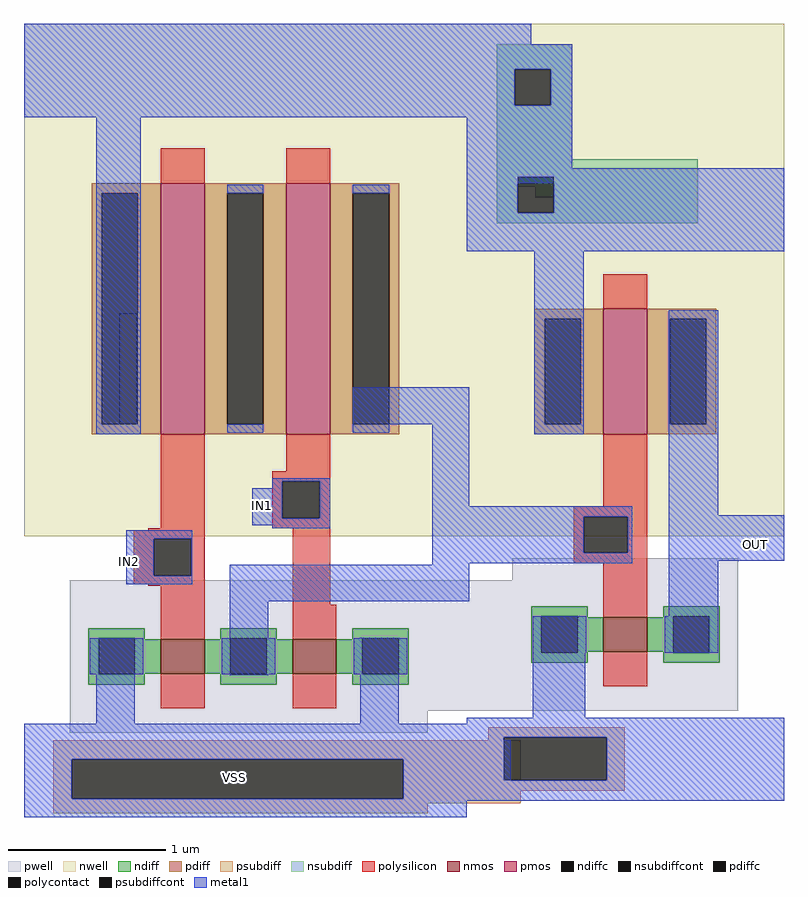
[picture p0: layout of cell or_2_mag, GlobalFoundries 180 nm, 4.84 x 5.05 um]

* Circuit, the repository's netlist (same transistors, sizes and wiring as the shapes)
* NGSPICE file created from or_2_mag.ext - technology: gf180mcuC

.subckt pmos_3p3_M8QNDR w_n202_n290# a_28_n160# a_n116_n160# a_n28_n204#
X0 a_28_n160# a_n28_n204# a_n116_n160# w_n202_n290# pfet_03v3 ad=0.704p pd=4.08u as=0.704p ps=4.08u w=1.6u l=0.28u
.ends

.subckt pmos_3p3_MQGBLR a_n28_n124# a_n116_n80# a_28_n80# w_n202_n210#
X0 a_28_n80# a_n28_n124# a_n116_n80# w_n202_n210# pfet_03v3 ad=0.352p pd=2.48u as=0.352p ps=2.48u w=0.8u l=0.28u
.ends

.subckt nmos_3p3_DDNVWA a_n120_n36# a_28_n22# a_n28_n66# VSUBS
X0 a_28_n22# a_n28_n66# a_n120_n36# VSUBS nfet_03v3 ad=0.152p pd=1.64u as=0.152p ps=1.64u w=0.22u l=0.28u
.ends

.subckt GF_INV_MAG VDD VSS IN OUT
Xpmos_3p3_MQGBLR_0 IN VDD OUT VDD pmos_3p3_MQGBLR
Xnmos_3p3_DDNVWA_0 VSS OUT IN VSS nmos_3p3_DDNVWA
.ends

.subckt pmos_3p3_M4YALR w_n202_n290# a_28_n160# a_n116_n160# a_n28_n204#
X0 a_28_n160# a_n28_n204# a_n116_n160# w_n202_n290# pfet_03v3 ad=0.704p pd=4.08u as=0.704p ps=4.08u w=1.6u l=0.28u
.ends

.subckt or_2_mag VSS VDD IN2 IN1 OUT
Xpmos_3p3_M8QNDR_0 VDD pmos_3p3_M8QNDR_0/a_28_n160# VDD IN2 pmos_3p3_M8QNDR
XGF_INV_MAG_1 VDD VSS GF_INV_MAG_1/IN OUT GF_INV_MAG
Xpmos_3p3_M4YALR_0 VDD GF_INV_MAG_1/IN pmos_3p3_M8QNDR_0/a_28_n160# IN1 pmos_3p3_M4YALR
Xnmos_3p3_DDNVWA_0 GF_INV_MAG_1/IN VSS IN1 VSS nmos_3p3_DDNVWA
Xnmos_3p3_DDNVWA_1 VSS GF_INV_MAG_1/IN IN2 VSS nmos_3p3_DDNVWA
.ends

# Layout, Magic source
magic
tech gf180mcuC
magscale 1 10
<< nwell >>
rect 330 1402 1298 1521
rect 891 1333 1298 1402
rect 932 1313 1028 1333
rect 981 1300 1028 1313
rect 1095 1307 1118 1333
rect 475 998 476 1156
rect 560 953 564 955
rect 529 951 564 953
rect 664 951 686 959
rect 528 940 564 951
rect 529 928 564 940
rect 646 942 686 951
rect 721 942 768 955
rect 646 929 720 942
rect 530 898 564 928
rect 529 894 564 898
rect 530 891 564 894
rect 528 878 564 888
rect 621 882 720 929
rect 646 878 720 882
<< pwell >>
rect 599 785 621 786
rect 832 646 954 812
<< pdiff >>
rect 451 1011 475 1152
rect 451 1000 476 1011
rect 452 998 476 1000
<< psubdiff >>
rect 367 584 963 608
rect 367 534 391 584
rect 813 534 963 584
rect 367 528 963 534
rect 367 515 844 528
<< nsubdiff >>
rect 932 1463 1028 1495
rect 932 1417 955 1463
rect 1001 1417 1028 1463
rect 932 1313 1028 1417
rect 981 1300 1028 1313
rect 1074 1307 1118 1313
rect 1074 1286 1105 1307
<< psubdiffcont >>
rect 391 534 813 584
<< nsubdiffcont >>
rect 955 1417 1001 1463
<< polysilicon >>
rect 504 878 560 954
rect 664 951 720 959
rect 646 938 720 951
rect 646 891 659 938
rect 707 891 720 938
rect 646 878 720 891
rect 488 876 560 878
rect 470 865 560 876
rect 470 818 495 865
rect 543 818 560 865
rect 470 807 560 818
rect 488 805 560 807
rect 504 781 560 805
rect 672 781 720 878
<< polycontact >>
rect 659 891 707 938
rect 495 818 543 865
<< metal1 >>
rect 330 1495 976 1521
rect 330 1463 1028 1495
rect 330 1417 955 1463
rect 1001 1417 1028 1463
rect 330 1402 1028 1417
rect 422 998 479 1402
rect 894 1318 1028 1402
rect 749 1011 897 1058
rect 646 938 720 942
rect 646 929 659 938
rect 621 891 659 929
rect 707 891 720 938
rect 621 882 720 891
rect 646 878 720 882
rect 460 865 544 876
rect 460 818 495 865
rect 543 818 544 865
rect 850 832 897 1011
rect 1214 837 1298 895
rect 460 807 544 818
rect 592 785 897 832
rect 422 629 471 738
rect 592 691 641 785
rect 758 629 807 739
rect 330 608 894 629
rect 330 584 950 608
rect 330 534 391 584
rect 813 544 950 584
rect 813 534 894 544
rect 330 510 894 534
use GF_INV_MAG  GF_INV_MAG_1
transform 1 0 1012 0 1 706
box -118 -175 286 666
use nmos_3p3_DDNVWA  nmos_3p3_DDNVWA_0
transform 1 0 700 0 1 715
box -144 -97 144 97
use nmos_3p3_DDNVWA  nmos_3p3_DDNVWA_1
transform 1 0 532 0 1 715
box -144 -97 144 97
use pmos_3p3_M4YALR  pmos_3p3_M4YALR_0
transform 1 0 692 0 1 1158
box -202 -290 202 290
use pmos_3p3_M8QNDR  pmos_3p3_M8QNDR_0
transform 1 0 532 0 1 1158
box -202 -290 202 290
<< labels >>
flabel psubdiffcont 598 561 598 561 0 FreeSans 320 0 0 0 VSS
port 0 nsew
flabel metal1 464 836 464 836 0 FreeSans 320 0 0 0 IN2
port 2 nsew
flabel metal1 634 907 634 907 0 FreeSans 320 0 0 0 IN1
port 3 nsew
flabel metal1 1262 858 1262 858 0 FreeSans 320 0 0 0 OUT
port 4 nsew
<< end >>

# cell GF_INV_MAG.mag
magic
tech gf180mcuC
magscale 1 10
<< nwell >>
rect -118 526 286 666
rect -84 525 271 526
rect -32 292 31 525
<< psubdiff >>
rect -91 -94 83 -81
rect -91 -149 -71 -94
rect 60 -149 83 -94
rect -91 -162 83 -149
<< nsubdiff >>
rect -80 620 176 642
rect -80 574 -53 620
rect -7 574 176 620
rect -80 561 176 574
<< psubdiffcont >>
rect -71 -149 60 -94
<< nsubdiffcont >>
rect -53 574 -7 620
<< polysilicon >>
rect 56 200 112 248
rect 18 187 112 200
rect 18 141 31 187
rect 87 141 112 187
rect 18 128 112 141
rect 56 103 112 128
<< polycontact >>
rect 31 141 87 187
<< metal1 >>
rect -118 620 286 631
rect -118 574 -53 620
rect -7 574 286 620
rect -118 525 286 574
rect -32 292 31 525
rect -118 187 93 200
rect -118 141 31 187
rect 87 141 93 187
rect -118 128 93 141
rect 139 189 202 450
rect 139 131 286 189
rect -34 -69 33 60
rect 139 14 202 131
rect -118 -94 286 -69
rect -118 -149 -71 -94
rect 60 -149 286 -94
rect -118 -175 286 -149
use nmos_3p3_DDNVWA  nmos_3p3_DDNVWA_0
transform 1 0 84 0 1 37
box -144 -97 144 97
use pmos_3p3_MQGBLR  pmos_3p3_MQGBLR_0
transform 1 0 84 0 1 372
box -202 -210 202 210
<< labels >>
flabel metal1 -106 158 -106 158 0 FreeSans 640 0 0 0 IN
port 2 nsew
flabel metal1 276 159 276 159 0 FreeSans 640 0 0 0 OUT
port 3 nsew
flabel psubdiffcont -11 -123 -11 -123 0 FreeSans 640 0 0 0 VSS
port 4 nsew
<< end >>

# cell nmos_3p3_DDNVWA: kit device nmos_3p3, w 0.220 l 0.280 m 1 nf 1 diffcov 100 polycov 100 guard 0 glc 0 grc 0 gtc 0 gbc 0 tbcov 100 rlcov 100 topc 0 botc 0 poverlap 0 doverlap 1 lmin 0.28 wmin 0.22 full_metal 0 compatible {nmos_3p3 nmos_6p0 nmos_6p0_nat}

# cell pmos_3p3_M4YALR: kit device pmos_3p3, w 1.6 l 0.280 m 1 nf 1 diffcov 100 polycov 100 guard 0 glc 0 grc 0 gtc 0 gbc 0 tbcov 100 rlcov 100 topc 0 botc 0 poverlap 0 doverlap 1 lmin 0.28 wmin 0.22 full_metal 0 compatible {pmos_3p3 pmos_6p0}

# cell pmos_3p3_M8QNDR: kit device pmos_3p3, w 1.60 l 0.280 m 1 nf 1 diffcov 100 polycov 100 guard 0 glc 0 grc 0 gtc 0 gbc 0 tbcov 100 rlcov 100 topc 0 botc 0 poverlap 0 doverlap 1 lmin 0.28 wmin 0.22 full_metal 0 compatible {pmos_3p3 pmos_6p0}

# cell pmos_3p3_MQGBLR: kit device pmos_3p3, w 0.8 l 0.280 m 1 nf 1 diffcov 100 polycov 100 guard 0 glc 0 grc 0 gtc 0 gbc 0 tbcov 100 rlcov 100 topc 0 botc 0 poverlap 0 doverlap 1 lmin 0.28 wmin 0.22 full_metal 0 compatible {pmos_3p3 pmos_6p0}
